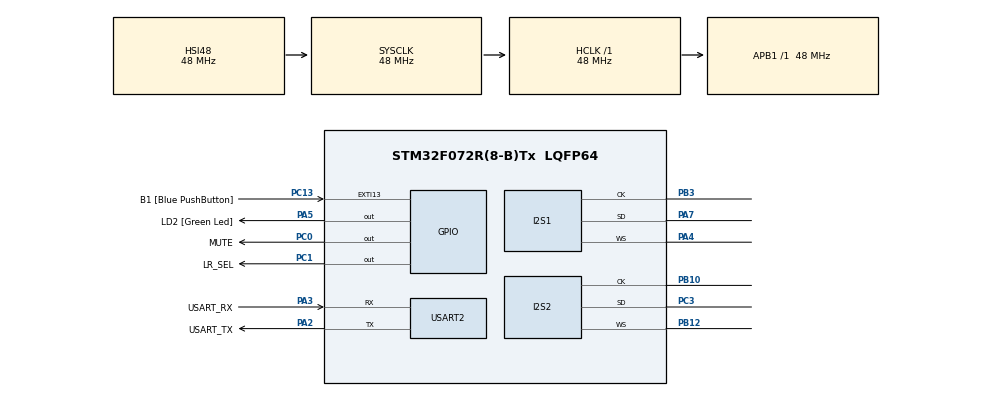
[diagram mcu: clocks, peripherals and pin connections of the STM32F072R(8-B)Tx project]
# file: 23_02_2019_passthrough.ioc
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Dma.Request0=SPI1_TX
Dma.Request1=SPI2_RX
Dma.SPI1_TX.0.Direction=DMA_MEMORY_TO_PERIPH
Dma.SPI1_TX.0.Instance=DMA1_Channel3
Dma.SPI1_TX.0.MemDataAlignment=DMA_MDATAALIGN_HALFWORD
Dma.SPI1_TX.0.MemInc=DMA_MINC_ENABLE
Dma.SPI1_TX.0.Mode=DMA_CIRCULAR
Dma.SPI1_TX.0.PeriphDataAlignment=DMA_PDATAALIGN_HALFWORD
Dma.SPI1_TX.0.PeriphInc=DMA_PINC_DISABLE
Dma.SPI1_TX.0.Priority=DMA_PRIORITY_LOW
Dma.SPI2_RX.1.Direction=DMA_PERIPH_TO_MEMORY
Dma.SPI2_RX.1.Instance=DMA1_Channel4
Dma.SPI2_RX.1.MemDataAlignment=DMA_MDATAALIGN_HALFWORD
Dma.SPI2_RX.1.MemInc=DMA_MINC_ENABLE
Dma.SPI2_RX.1.Mode=DMA_CIRCULAR
Dma.SPI2_RX.1.PeriphDataAlignment=DMA_PDATAALIGN_HALFWORD
Dma.SPI2_RX.1.PeriphInc=DMA_PINC_DISABLE
Dma.SPI2_RX.1.Priority=DMA_PRIORITY_LOW
I2S1.AudioFreq=I2S_AUDIOFREQ_8K
I2S1.DataFormat=I2S_DATAFORMAT_16B_EXTENDED
I2S1.ErrorAudioFreq=-0.27 %
I2S1.FullDuplexMode=I2S_FULLDUPLEXMODE_DISABLE
I2S1.Instance=SPI$Index
I2S1.RealAudioFreq=7.978 KHz
I2S1.Standard=I2S_STANDARD_PHILIPS
I2S1.VirtualMode=I2S_MODE_MASTER
I2S2.AudioFreq=I2S_AUDIOFREQ_8K
I2S2.DataFormat=I2S_DATAFORMAT_16B_EXTENDED
I2S2.ErrorAudioFreq=-0.27 %
I2S2.FullDuplexMode=I2S_FULLDUPLEXMODE_DISABLE
I2S2.Instance=SPI$Index
I2S2.Mode=I2S_MODE_MASTER_RX
I2S2.RealAudioFreq=7.978 KHz
I2S2.Standard=I2S_STANDARD_PHILIPS
I2S2.VirtualMode=I2S_MODE_MASTER
Mcu.Family=STM32F0
Mcu.Name=STM32F072R(8-B)Tx
Mcu.Package=LQFP64
NVIC.DMA1_Channel2_3_IRQn=true\:0\:0\:false\:false\:true\:false
NVIC.DMA1_Channel4_5_6_7_IRQn=true\:0\:0\:false\:false\:true\:false
PA13.GPIO_Label=TMS
PA13.Mode=Serial_Wire
PA13.Signal=SYS_SWDIO
PA14.GPIO_Label=TCK
PA14.Mode=Serial_Wire
PA14.Signal=SYS_SWCLK
PA2.GPIO_Label=USART_TX
PA2.GPIO_Mode=GPIO_MODE_AF_PP
PA2.GPIO_PuPd=GPIO_NOPULL
PA2.GPIO_Speed=GPIO_SPEED_FREQ_LOW
PA2.Mode=Asynchronous
PA2.Signal=USART2_TX
PA3.GPIO_Label=USART_RX
PA3.GPIO_Mode=GPIO_MODE_AF_PP
PA3.GPIO_PuPd=GPIO_NOPULL
PA3.GPIO_Speed=GPIO_SPEED_FREQ_LOW
PA3.Mode=Asynchronous
PA3.Signal=USART2_RX
PA4.Mode=Half_Duplex_Master
PA4.Signal=I2S1_WS
PA5.GPIO_Label=LD2 [Green Led]
PA5.GPIO_Mode=GPIO_MODE_OUTPUT_PP
PA5.GPIO_PuPd=GPIO_NOPULL
PA5.GPIO_Speed=GPIO_SPEED_FREQ_LOW
PA5.Signal=GPIO_Output
PA7.Mode=Half_Duplex_Master
PA7.Signal=I2S1_SD
PB10.Mode=Half_Duplex_Master
PB10.Signal=I2S2_CK
PB12.Mode=Half_Duplex_Master
PB12.Signal=I2S2_WS
PB3.Mode=Half_Duplex_Master
PB3.Signal=I2S1_CK
PC0.GPIO_Label=MUTE
PC0.Signal=GPIO_Output
PC1.GPIO_Label=LR_SEL
PC1.Signal=GPIO_Output
PC13.GPIO_Label=B1 [Blue PushButton]
PC13.GPIO_ModeDefaultEXTI=GPIO_MODE_IT_FALLING
PC13.Signal=GPXTI13
PC14-OSC32_IN.Mode=LSE-External-Oscillator
PC14-OSC32_IN.Signal=RCC_OSC32_IN
PC15-OSC32_OUT.Mode=LSE-External-Oscillator
PC15-OSC32_OUT.Signal=RCC_OSC32_OUT
PC3.Mode=Half_Duplex_Master
PC3.Signal=I2S2_SD
PF0-OSC_IN.Mode=HSE-External-Clock-Source
PF0-OSC_IN.Signal=RCC_OSC_IN
PF1-OSC_OUT.Signal=RCC_OSC_OUT
ProjectManager.HeapSize=0x200
ProjectManager.StackSize=0x400
ProjectManager.TargetToolchain=SW4STM32
RCC.AHBFreq_Value=48000000
RCC.APB1Freq_Value=48000000
RCC.APB1TimFreq_Value=48000000
RCC.FLatency-AdvancedSettings=FLASH_LATENCY_1
RCC.HCLKFreq_Value=48000000
RCC.PLLDivider=RCC_PREDIV_DIV2
RCC.PLLMUL=RCC_PLL_MUL12
RCC.PREFETCH_ENABLE-AdvancedSettings=1
RCC.SYSCLKFreq_VALUE=48000000
RCC.SYSCLKSource=RCC_SYSCLKSOURCE_HSI48
USART2.VirtualMode=VM_ASYNC
USART2.VirtualMode-Asynchronous=VM_ASYNC
board=NUCLEO-F072RB

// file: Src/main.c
/* USER CODE BEGIN Header */
/**
  ******************************************************************************
  * @file           : main.c
  * @brief          : Main program body
  ******************************************************************************
  ** This notice applies to any and all portions of this file
  * that are not between comment pairs USER CODE BEGIN and
  * USER CODE END. Other portions of this file, whether
  * inserted by the user or by software development tools
  * are owned by their respective copyright owners.
  *
  * COPYRIGHT(c) 2019 STMicroelectronics
  *
  * Redistribution and use in source and binary forms, with or without modification,
  * are permitted provided that the following conditions are met:
  *   1. Redistributions of source code must retain the above copyright notice,
  *      this list of conditions and the following disclaimer.
  *   2. Redistributions in binary form must reproduce the above copyright notice,
  *      this list of conditions and the following disclaimer in the documentation
  *      and/or other materials provided with the distribution.
  *   3. Neither the name of STMicroelectronics nor the names of its contributors
  *      may be used to endorse or promote products derived from this software
  *      without specific prior written permission.
  *
  * THIS SOFTWARE IS PROVIDED BY THE COPYRIGHT HOLDERS AND CONTRIBUTORS "AS IS"
  * AND ANY EXPRESS OR IMPLIED WARRANTIES, INCLUDING, BUT NOT LIMITED TO, THE
  * IMPLIED WARRANTIES OF MERCHANTABILITY AND FITNESS FOR A PARTICULAR PURPOSE ARE
  * DISCLAIMED. IN NO EVENT SHALL THE COPYRIGHT HOLDER OR CONTRIBUTORS BE LIABLE
  * FOR ANY DIRECT, INDIRECT, INCIDENTAL, SPECIAL, EXEMPLARY, OR CONSEQUENTIAL
  * DAMAGES (INCLUDING, BUT NOT LIMITED TO, PROCUREMENT OF SUBSTITUTE GOODS OR
  * SERVICES; LOSS OF USE, DATA, OR PROFITS; OR BUSINESS INTERRUPTION) HOWEVER
  * CAUSED AND ON ANY THEORY OF LIABILITY, WHETHER IN CONTRACT, STRICT LIABILITY,
  * OR TORT (INCLUDING NEGLIGENCE OR OTHERWISE) ARISING IN ANY WAY OUT OF THE USE
  * OF THIS SOFTWARE, EVEN IF ADVISED OF THE POSSIBILITY OF SUCH DAMAGE.
  *
  ******************************************************************************
  */
/* USER CODE END Header */

#include "main.h"

/* USER CODE BEGIN Includes */
#define MUTE HAL_GPIO_WritePin(MUTE_GPIO_Port, MUTE_Pin, GPIO_PIN_SET);
#define UNMUTE HAL_GPIO_WritePin(MUTE_GPIO_Port, MUTE_Pin, GPIO_PIN_RESET);
#define SET_MIC_RIGHT HAL_GPIO_WritePin(LR_SEL_GPIO_Port, LR_SEL_Pin, GPIO_PIN_SET);
#define SET_MIC_LEFT HAL_GPIO_WritePin(LR_SEL_GPIO_Port, LR_SEL_Pin, GPIO_PIN_RESET);
/* USER CODE END Includes */

I2S_HandleTypeDef hi2s1;
I2S_HandleTypeDef hi2s2;
DMA_HandleTypeDef hdma_spi1_tx;
DMA_HandleTypeDef hdma_spi2_rx;

UART_HandleTypeDef huart2;

/* USER CODE BEGIN PV */
#define SAMPLE_PER_FRAME 2
#define FRAME_PER_BUFFER 32
#define BUFFER_SIZE (FRAME_PER_BUFFER*SAMPLE_PER_FRAME)
#define DOUBLE_BUFFER_I2S (2*BUFFER_SIZE)

int16_t dataIn[DOUBLE_BUFFER_I2S];
int16_t dataOut[DOUBLE_BUFFER_I2S];
/* USER CODE END PV */

void SystemClock_Config(void);
static void MX_GPIO_Init(void);
static void MX_DMA_Init(void);
static void MX_USART2_UART_Init(void);
static void MX_I2S1_Init(void);
static void MX_I2S2_Init(void);
/* USER CODE BEGIN PFP */
void process(int16_t *bufferInStereo, int16_t *bufferOutStereo, uint16_t size);

void HAL_I2S_RxHalfCpltCallback(I2S_HandleTypeDef *hi2s) {
}

void HAL_I2S_RxCpltCallback(I2S_HandleTypeDef *hi2s) {
}

void HAL_I2S_TxHalfCpltCallback(I2S_HandleTypeDef *hi2s) {
    process(dataIn, dataOut, BUFFER_SIZE);
}

void HAL_I2S_TxCpltCallback(I2S_HandleTypeDef *hi2s) {
    process(&dataIn[BUFFER_SIZE], &dataOut[BUFFER_SIZE], BUFFER_SIZE);
}
/* USER CODE END PFP */

int main(void)
{

  /* MCU Configuration--------------------------------------------------------*/

  /* Reset of all peripherals, Initializes the Flash interface and the Systick. */
  HAL_Init();

  /* Configure the system clock */
  SystemClock_Config();

  /* Initialize all configured peripherals */
  MX_GPIO_Init();
  MX_DMA_Init();
  MX_USART2_UART_Init();
  MX_I2S1_Init();
  MX_I2S2_Init();
  /* USER CODE BEGIN 2 */
  // Control of the codec
  UNMUTE
  SET_MIC_LEFT

  // begin DMAs
  HAL_I2S_Transmit_DMA(&hi2s1, (uint16_t *) dataOut, DOUBLE_BUFFER_I2S);
  HAL_I2S_Receive_DMA(&hi2s2, (uint16_t *) dataIn, DOUBLE_BUFFER_I2S);
  /* USER CODE END 2 */

  /* Infinite loop */
  while (1)
  {

  }
}

void SystemClock_Config(void)
{
  RCC_OscInitTypeDef RCC_OscInitStruct = {0};
  RCC_ClkInitTypeDef RCC_ClkInitStruct = {0};
  RCC_PeriphCLKInitTypeDef PeriphClkInit = {0};

  /**Initializes the CPU, AHB and APB busses clocks
  */
  RCC_OscInitStruct.OscillatorType = RCC_OSCILLATORTYPE_HSI48;
  RCC_OscInitStruct.HSI48State = RCC_HSI48_ON;
  RCC_OscInitStruct.PLL.PLLState = RCC_PLL_NONE;
  if (HAL_RCC_OscConfig(&RCC_OscInitStruct) != HAL_OK)
  {
    Error_Handler();
  }
  /**Initializes the CPU, AHB and APB busses clocks
  */
  RCC_ClkInitStruct.ClockType = RCC_CLOCKTYPE_HCLK|RCC_CLOCKTYPE_SYSCLK
                              |RCC_CLOCKTYPE_PCLK1;
  RCC_ClkInitStruct.SYSCLKSource = RCC_SYSCLKSOURCE_HSI48;
  RCC_ClkInitStruct.AHBCLKDivider = RCC_SYSCLK_DIV1;
  RCC_ClkInitStruct.APB1CLKDivider = RCC_HCLK_DIV1;

  if (HAL_RCC_ClockConfig(&RCC_ClkInitStruct, FLASH_LATENCY_1) != HAL_OK)
  {
    Error_Handler();
  }
  PeriphClkInit.PeriphClockSelection = RCC_PERIPHCLK_USART2;
  PeriphClkInit.Usart2ClockSelection = RCC_USART2CLKSOURCE_PCLK1;
  if (HAL_RCCEx_PeriphCLKConfig(&PeriphClkInit) != HAL_OK)
  {
    Error_Handler();
  }
}

static void MX_I2S1_Init(void)
{

  hi2s1.Instance = SPI1;
  hi2s1.Init.Mode = I2S_MODE_MASTER_TX;
  hi2s1.Init.Standard = I2S_STANDARD_PHILIPS;
  hi2s1.Init.DataFormat = I2S_DATAFORMAT_16B_EXTENDED;
  hi2s1.Init.MCLKOutput = I2S_MCLKOUTPUT_DISABLE;
  hi2s1.Init.AudioFreq = I2S_AUDIOFREQ_8K;
  hi2s1.Init.CPOL = I2S_CPOL_LOW;
  if (HAL_I2S_Init(&hi2s1) != HAL_OK)
  {
    Error_Handler();
  }

}

static void MX_I2S2_Init(void)
{

  hi2s2.Instance = SPI2;
  hi2s2.Init.Mode = I2S_MODE_MASTER_RX;
  hi2s2.Init.Standard = I2S_STANDARD_PHILIPS;
  hi2s2.Init.DataFormat = I2S_DATAFORMAT_16B_EXTENDED;
  hi2s2.Init.MCLKOutput = I2S_MCLKOUTPUT_DISABLE;
  hi2s2.Init.AudioFreq = I2S_AUDIOFREQ_8K;
  hi2s2.Init.CPOL = I2S_CPOL_LOW;
  if (HAL_I2S_Init(&hi2s2) != HAL_OK)
  {
    Error_Handler();
  }

}

static void MX_USART2_UART_Init(void)
{

  huart2.Instance = USART2;
  huart2.Init.BaudRate = 38400;
  huart2.Init.WordLength = UART_WORDLENGTH_8B;
  huart2.Init.StopBits = UART_STOPBITS_1;
  huart2.Init.Parity = UART_PARITY_NONE;
  huart2.Init.Mode = UART_MODE_TX_RX;
  huart2.Init.HwFlowCtl = UART_HWCONTROL_NONE;
  huart2.Init.OverSampling = UART_OVERSAMPLING_16;
  huart2.Init.OneBitSampling = UART_ONE_BIT_SAMPLE_DISABLE;
  huart2.AdvancedInit.AdvFeatureInit = UART_ADVFEATURE_NO_INIT;
  if (HAL_UART_Init(&huart2) != HAL_OK)
  {
    Error_Handler();
  }

}

static void MX_DMA_Init(void)
{
  /* DMA controller clock enable */
  __HAL_RCC_DMA1_CLK_ENABLE();

  /* DMA interrupt init */
  /* DMA1_Channel2_3_IRQn interrupt configuration */
  HAL_NVIC_SetPriority(DMA1_Channel2_3_IRQn, 0, 0);
  HAL_NVIC_EnableIRQ(DMA1_Channel2_3_IRQn);
  /* DMA1_Channel4_5_6_7_IRQn interrupt configuration */
  HAL_NVIC_SetPriority(DMA1_Channel4_5_6_7_IRQn, 0, 0);
  HAL_NVIC_EnableIRQ(DMA1_Channel4_5_6_7_IRQn);

}

static void MX_GPIO_Init(void)
{
  GPIO_InitTypeDef GPIO_InitStruct = {0};

  /* GPIO Ports Clock Enable */
  __HAL_RCC_GPIOC_CLK_ENABLE();
  __HAL_RCC_GPIOF_CLK_ENABLE();
  __HAL_RCC_GPIOA_CLK_ENABLE();
  __HAL_RCC_GPIOB_CLK_ENABLE();

  /*Configure GPIO pin Output Level */
  HAL_GPIO_WritePin(GPIOC, MUTE_Pin|LR_SEL_Pin, GPIO_PIN_RESET);

  /*Configure GPIO pin Output Level */
  HAL_GPIO_WritePin(LD2_GPIO_Port, LD2_Pin, GPIO_PIN_RESET);

  /*Configure GPIO pin : B1_Pin */
  GPIO_InitStruct.Pin = B1_Pin;
  GPIO_InitStruct.Mode = GPIO_MODE_IT_FALLING;
  GPIO_InitStruct.Pull = GPIO_NOPULL;
  HAL_GPIO_Init(B1_GPIO_Port, &GPIO_InitStruct);

  /*Configure GPIO pins : MUTE_Pin LR_SEL_Pin */
  GPIO_InitStruct.Pin = MUTE_Pin|LR_SEL_Pin;
  GPIO_InitStruct.Mode = GPIO_MODE_OUTPUT_PP;
  GPIO_InitStruct.Pull = GPIO_NOPULL;
  GPIO_InitStruct.Speed = GPIO_SPEED_FREQ_LOW;
  HAL_GPIO_Init(GPIOC, &GPIO_InitStruct);

  /*Configure GPIO pin : LD2_Pin */
  GPIO_InitStruct.Pin = LD2_Pin;
  GPIO_InitStruct.Mode = GPIO_MODE_OUTPUT_PP;
  GPIO_InitStruct.Pull = GPIO_NOPULL;
  GPIO_InitStruct.Speed = GPIO_SPEED_FREQ_LOW;
  HAL_GPIO_Init(LD2_GPIO_Port, &GPIO_InitStruct);

}

/* USER CODE BEGIN 4 */
void inline process(int16_t *bufferInStereo, int16_t *bufferOutStereo, uint16_t size) {
    // Strictly copying input to output
    for (uint16_t i = 0; i < size; i++) {
        // Here copy input buffer to output buffer
    	bufferOutStereo[i] = bufferInStereo[i];
    }
}
/* USER CODE END 4 */

void Error_Handler(void)
{
}

/************************ (C) COPYRIGHT STMicroelectronics *****END OF FILE****/
